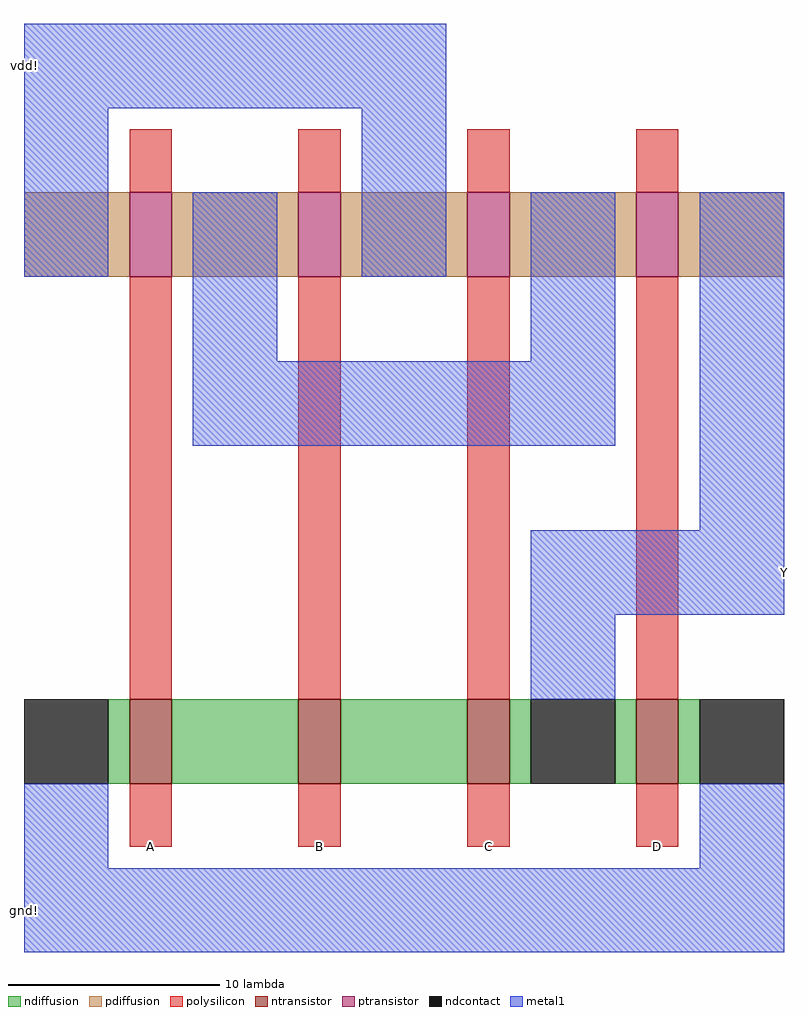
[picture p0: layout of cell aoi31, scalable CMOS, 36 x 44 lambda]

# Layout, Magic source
magic
tech scmos
<< ntransistor >>
rect 5 8 7 12
rect 13 8 15 12
rect 21 8 23 12
rect 29 8 31 12
<< ptransistor >>
rect 5 32 7 36
rect 13 32 15 36
rect 21 32 23 36
rect 29 32 31 36
<< ndiffusion >>
rect 4 8 5 12
rect 7 8 13 12
rect 15 8 21 12
rect 23 8 24 12
rect 28 8 29 12
rect 31 8 32 12
<< pdiffusion >>
rect 0 32 5 36
rect 7 32 13 36
rect 15 32 21 36
rect 23 32 29 36
rect 31 32 36 36
<< ndcontact >>
rect 0 8 4 12
rect 24 8 28 12
rect 32 8 36 12
<< polysilicon >>
rect 5 36 7 39
rect 13 36 15 39
rect 21 36 23 39
rect 29 36 31 39
rect 5 12 7 32
rect 13 12 15 32
rect 21 12 23 32
rect 29 12 31 32
rect 5 5 7 8
rect 13 5 15 8
rect 21 5 23 8
rect 29 5 31 8
<< metal1 >>
rect 0 40 20 44
rect 0 32 4 40
rect 8 28 12 36
rect 16 32 20 40
rect 24 28 28 36
rect 8 24 28 28
rect 32 20 36 36
rect 24 16 36 20
rect 24 12 28 16
rect 0 4 4 8
rect 32 4 36 8
rect 0 0 36 4
<< labels >>
rlabel metal1 0 40 0 44 4 vdd!
rlabel metal1 0 0 0 4 2 gnd!
rlabel metal1 36 16 36 20 7 Y
rlabel polysilicon 5 5 7 5 1 A
rlabel polysilicon 13 5 15 5 1 B
rlabel polysilicon 21 5 23 5 1 C
rlabel polysilicon 29 5 31 5 1 D
<< end >>
